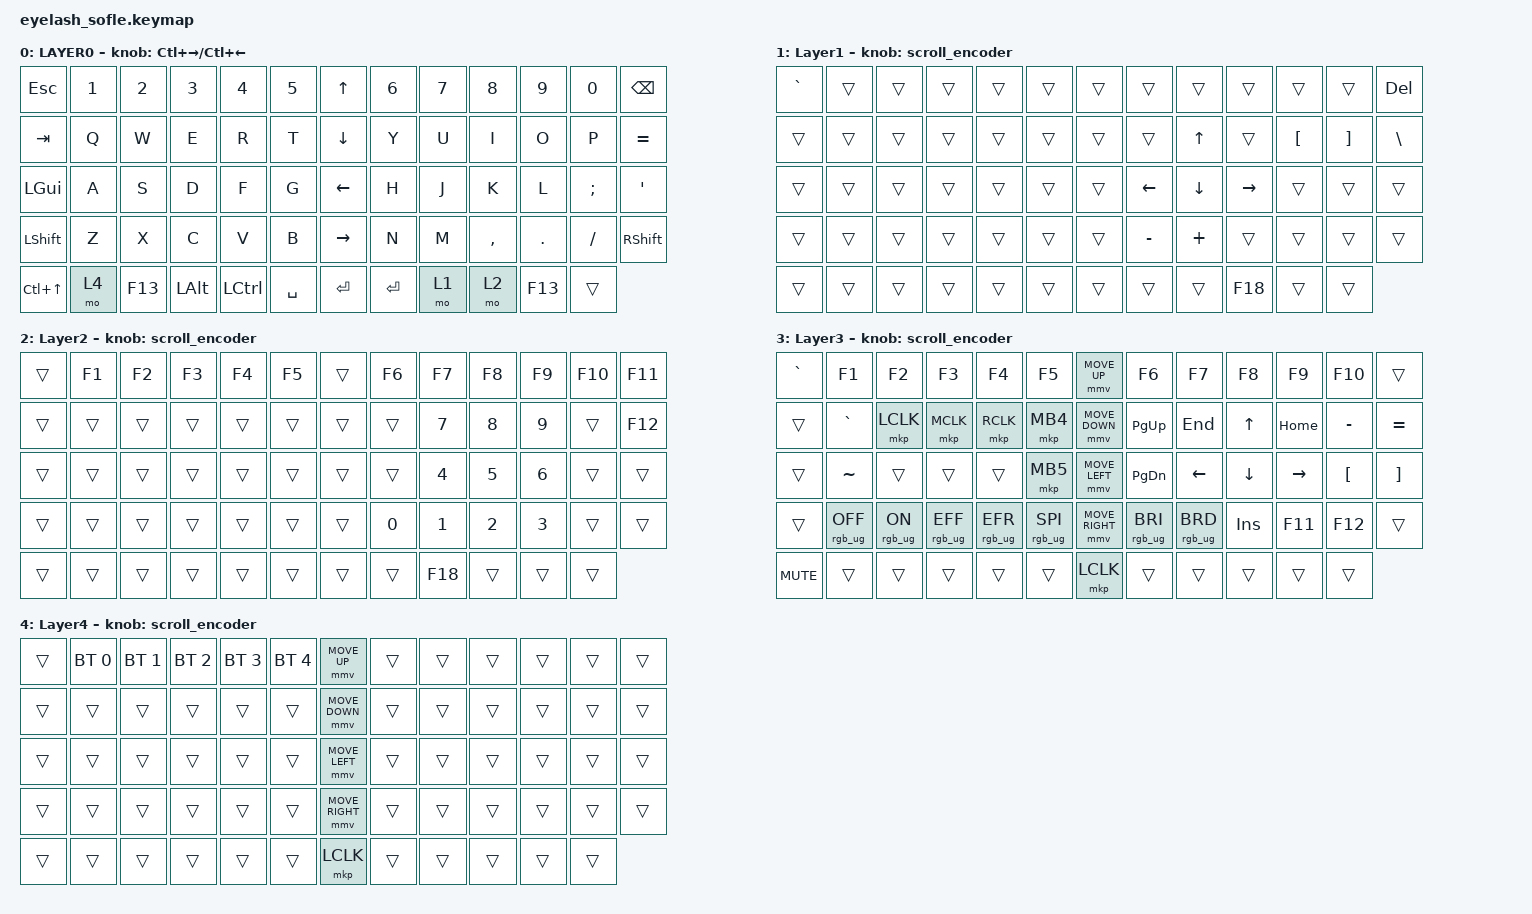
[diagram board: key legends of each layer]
#define ZMK_POINTING_DEFAULT_MOVE_VAL 1200  // 600
#define ZMK_POINTING_DEFAULT_SCRL_VAL 25   // 10

#include <input/processors.dtsi>
#include <zephyr/dt-bindings/input/input-event-codes.h>
#include <behaviors.dtsi>
#include <dt-bindings/zmk/bt.h>
#include <dt-bindings/zmk/keys.h>
#include <dt-bindings/zmk/pointing.h>
#include <dt-bindings/zmk/rgb.h>

&mmv_input_listener { input-processors = <&zip_xy_scaler 2 1>; };

&msc_input_listener { input-processors = <&zip_scroll_scaler 2 1>; };

&msc {
    acceleration-exponent = <1>;      // 0
    time-to-max-speed-ms = <100>;       // 300
    delay-ms = <0>;                   // 0
};

&mmv {
    time-to-max-speed-ms = <500>;
    acceleration-exponent = <1>;
    trigger-period-ms = <16>;
};

&soft_off { hold-time-ms = <2000>; };

/ {
    scroll_encoder: scroll_encoder {
        compatible = "zmk,behavior-sensor-rotate";
        #sensor-binding-cells = <0>;
        bindings = <&msc SCRL_DOWN>, <&msc SCRL_UP>;

        tap-ms = <100>;
    };

    behaviors {
    };

    combos { compatible = "zmk,combos"; };

    keymap {
        compatible = "zmk,keymap";

        layer_0 {
            bindings = <
&kp ESC           &kp N1  &kp N2   &kp N3        &kp N4            &kp N5       &kp UP_ARROW     &kp N6     &kp N7  &kp N8     &kp N9   &kp N0    &kp BACKSPACE
&kp TAB           &kp Q   &kp W    &kp E         &kp R             &kp T        &kp DOWN_ARROW   &kp Y      &kp U   &kp I      &kp O    &kp P     &kp EQUAL
&kp LEFT_GUI      &kp A   &kp S    &kp D         &kp F             &kp G        &kp LEFT_ARROW   &kp H      &kp J   &kp K      &kp L    &kp SEMI  &kp APOS
&kp LSHFT         &kp Z   &kp X    &kp C         &kp V             &kp B        &kp RIGHT_ARROW  &kp N      &kp M   &kp COMMA  &kp DOT  &kp FSLH  &kp RIGHT_SHIFT
&kp LC(UP_ARROW)  &mo 4   &kp F13  &kp LEFT_ALT  &kp LEFT_CONTROL  &kp SPACE    &kp ENTER        &kp ENTER  &mo 1   &mo 2      &kp F13  &trans
            >;

            sensor-bindings = <&inc_dec_kp LC(RIGHT_ARROW) LC(LEFT_ARROW)>;
            display-name = "LAYER0";
        };

        layer_1 {
            bindings = <
&kp GRAVE  &trans  &trans  &trans  &trans  &trans    &trans  &trans          &trans          &trans           &trans    &trans    &kp DELETE
&trans     &trans  &trans  &trans  &trans  &trans    &trans  &trans          &kp UP_ARROW    &trans           &kp LBKT  &kp RBKT  &kp BSLH
&trans     &trans  &trans  &trans  &trans  &trans    &trans  &kp LEFT_ARROW  &kp DOWN_ARROW  &kp RIGHT_ARROW  &trans    &trans    &trans
&trans     &trans  &trans  &trans  &trans  &trans    &trans  &kp MINUS       &kp PLUS        &trans           &trans    &trans    &trans
&trans     &trans  &trans  &trans  &trans  &trans    &trans  &trans          &trans          &kp F18          &trans    &trans
            >;

            display-name = "Layer1";
            sensor-bindings = <&scroll_encoder>;
        };

        layer_2 {
            bindings = <
&trans  &kp F1  &kp F2  &kp F3  &kp F4  &kp F5    &trans  &kp F6  &kp F7   &kp F8  &kp F9  &kp F10  &kp F11
&trans  &trans  &trans  &trans  &trans  &trans    &trans  &trans  &kp N7   &kp N8  &kp N9  &trans   &kp F12
&trans  &trans  &trans  &trans  &trans  &trans    &trans  &trans  &kp N4   &kp N5  &kp N6  &trans   &trans
&trans  &trans  &trans  &trans  &trans  &trans    &trans  &kp N0  &kp N1   &kp N2  &kp N3  &trans   &trans
&trans  &trans  &trans  &trans  &trans  &trans    &trans  &trans  &kp F18  &trans  &trans  &trans
            >;

            display-name = "Layer2";
            sensor-bindings = <&scroll_encoder>;
        };

        layer_3 {
            bindings = <
&kp GRAVE   &kp F1           &kp F2          &kp F3           &kp F4           &kp F5             &mmv MOVE_UP     &kp F6           &kp F7           &kp F8      &kp F9     &kp F10           &trans
&trans      &kp GRAVE        &mkp LCLK       &mkp MCLK        &mkp RCLK        &mkp MB4           &mmv MOVE_DOWN   &kp PG_UP        &kp END          &kp UP      &kp HOME   &kp MINUS         &kp EQUAL
&trans      &kp TILDE        &trans          &trans           &trans           &mkp MB5           &mmv MOVE_LEFT   &kp PG_DN        &kp LEFT         &kp DOWN    &kp RIGHT  &kp LEFT_BRACKET  &kp RIGHT_BRACKET
&trans      &rgb_ug RGB_OFF  &rgb_ug RGB_ON  &rgb_ug RGB_EFF  &rgb_ug RGB_EFR  &rgb_ug RGB_SPI    &mmv MOVE_RIGHT  &rgb_ug RGB_BRI  &rgb_ug RGB_BRD  &kp INSERT  &kp F11    &kp F12           &trans
&kp C_MUTE  &trans           &trans          &trans           &trans           &trans             &mkp LCLK        &trans           &trans           &trans      &trans     &trans
            >;

            display-name = "Layer3";
            sensor-bindings = <&scroll_encoder>;
        };

        layer_4 {
            bindings = <
&trans  &bt BT_SEL 0  &bt BT_SEL 1  &bt BT_SEL 2  &bt BT_SEL 3  &bt BT_SEL 4    &mmv MOVE_UP     &trans  &trans  &trans  &trans  &trans  &trans
&trans  &trans        &trans        &trans        &trans        &trans          &mmv MOVE_DOWN   &trans  &trans  &trans  &trans  &trans  &trans
&trans  &trans        &trans        &trans        &trans        &trans          &mmv MOVE_LEFT   &trans  &trans  &trans  &trans  &trans  &trans
&trans  &trans        &trans        &trans        &trans        &trans          &mmv MOVE_RIGHT  &trans  &trans  &trans  &trans  &trans  &trans
&trans  &trans        &trans        &trans        &trans        &trans          &mkp LCLK        &trans  &trans  &trans  &trans  &trans
            >;

            display-name = "Layer4";
            sensor-bindings = <&scroll_encoder>;
        };
    };
};
